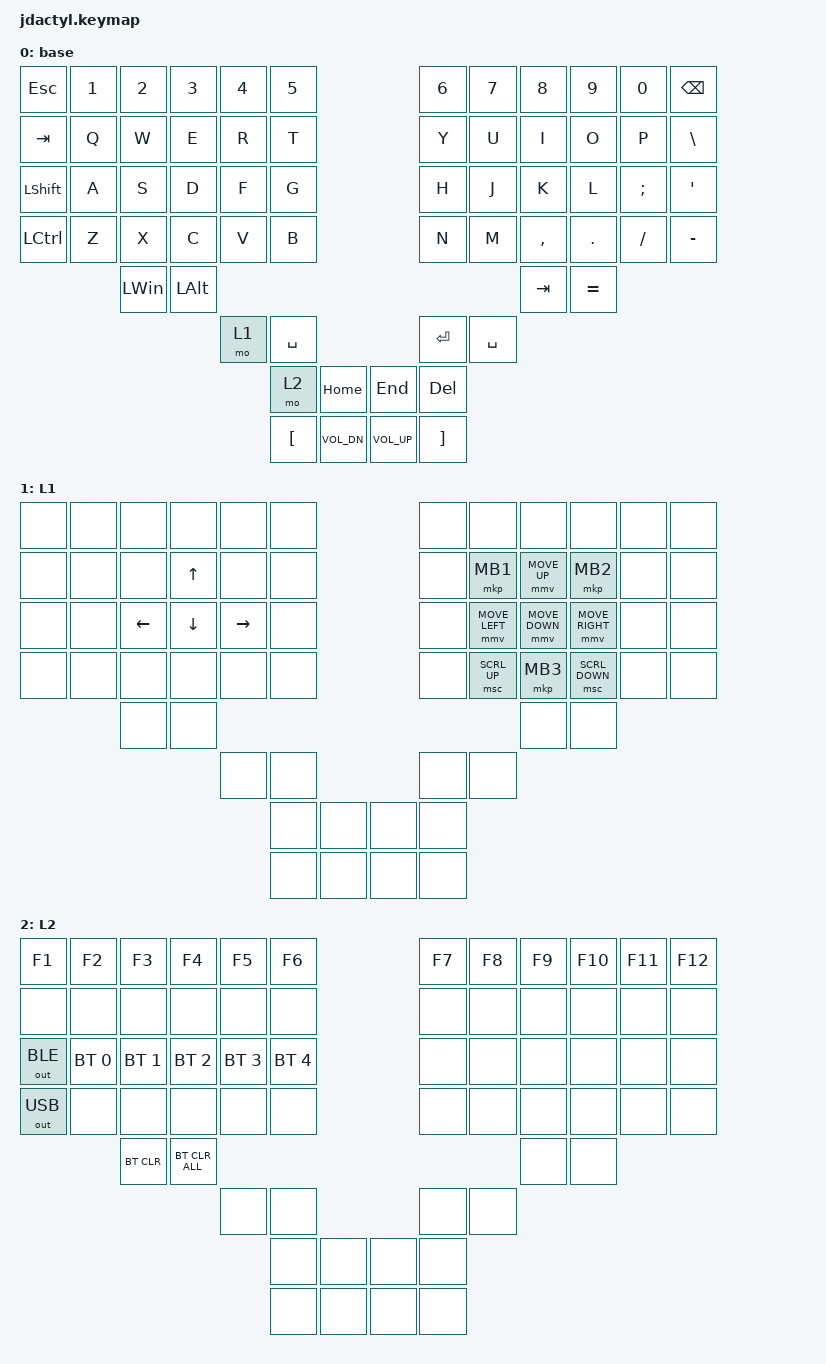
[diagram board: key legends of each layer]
#include <behaviors.dtsi>
#include <dt-bindings/zmk/keys.h>
#include <dt-bindings/zmk/bt.h>
#include <dt-bindings/zmk/outputs.h>
#include <dt-bindings/zmk/mouse.h>

#define DEFAULT 0
#define LOWER 1
#define RAISE 2
#define ADJUST 3

/ {
    keymap {
        compatible = "zmk,keymap";

        default_layer {
            display-name = "base";
            bindings = <
                &kp ESC           &kp NUMBER_1    &kp NUMBER_2    &kp NUMBER_3    &kp NUMBER_4    &kp NUMBER_5                                            &kp NUMBER_6    &kp NUMBER_7    &kp NUMBER_8    &kp NUMBER_9    &kp NUMBER_0    &kp BACKSPACE
                &kp TAB           &kp Q           &kp W           &kp E           &kp R           &kp T                                                   &kp Y           &kp U           &kp I           &kp O           &kp P           &kp BACKSLASH
                &kp LEFT_SHIFT    &kp A           &kp S           &kp D           &kp F           &kp G                                                   &kp H           &kp J           &kp K           &kp L           &kp SEMICOLON   &kp SQT
                &kp LEFT_CONTROL  &kp Z           &kp X           &kp C           &kp V           &kp B                                                   &kp N           &kp M           &kp COMMA       &kp DOT         &kp SLASH       &kp MINUS
                                                  &kp LEFT_WIN    &kp LEFT_ALT                                                                                                            &kp TAB        &kp EQUAL
                                                                                  &mo 1           &kp SPACE                                               &kp ENTER       &kp SPACE
                                                                                                  &mo 2           &kp HOME                &kp END         &kp DELETE
                                                                                                  &kp LEFT_BRACKET  &kp C_VOL_DN          &kp C_VOL_UP    &kp RIGHT_BRACKET
            >;
        };

        layer_1 {
            display-name = "L1";
            bindings = <
                &none &none &none    &none    &none     &none          &none &none          &none          &none           &none &none 
                &none &none &none    &kp UP   &none     &none          &none &mkp MB1       &mmv MOVE_UP   &mkp MB2        &none &none 
                &none &none &kp LEFT &kp DOWN &kp RIGHT &none          &none &mmv MOVE_LEFT &mmv MOVE_DOWN &mmv MOVE_RIGHT &none &none 
                &none &none &none    &none    &none     &none          &none &msc SCRL_UP   &mkp MB3       &msc SCRL_DOWN  &none &none 
                            &none    &none                                                  &none          &none 
                                              &none     &none          &none &none 
                                              &none     &none          &none &none 
                                              &none     &none          &none &none 
            >;
        };

        layer_2 {
            display-name = "L2";
            bindings = <
 		        &kp F1        &kp F2       &kp F3       &kp F4        &kp F5        &kp F6                  &kp F7    &kp F8    &kp F9    &kp F10   &kp F11   &kp F12
                &none         &none        &none        &none         &none         &none                   &none     &none     &none     &none     &none     &none
                &out OUT_BLE  &bt BT_SEL 0 &bt BT_SEL 1 &bt BT_SEL 2  &bt BT_SEL 3  &bt BT_SEL 4            &none     &none     &none     &none     &none     &none
                &out OUT_USB  &none        &none        &none         &none         &none                   &none     &none     &none     &none     &none     &none
                                           &bt BT_CLR   &bt BT_CLR_ALL                                                          &none     &none
                                                                      &none         &none                   &none     &none
                                                                                    &none &none       &none &none
                                                                                    &none &none       &none &none
           >;
        };
    };
};
